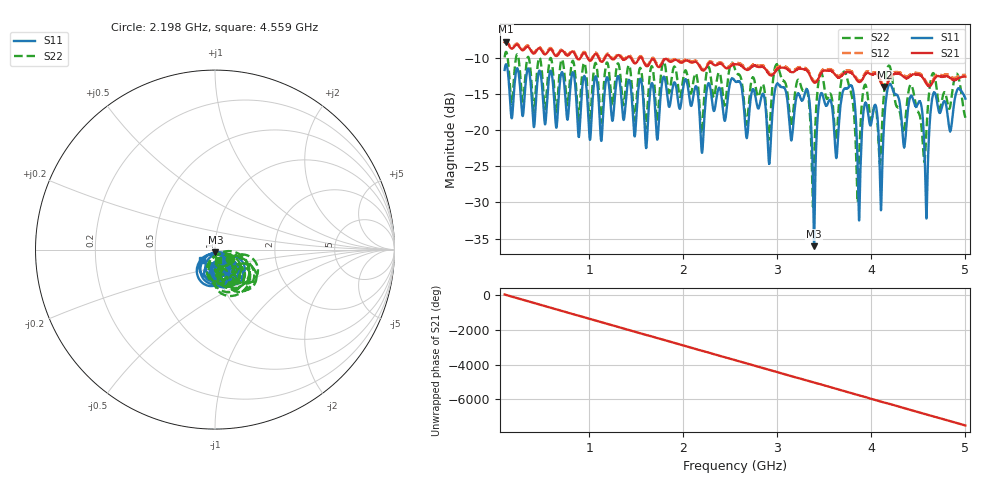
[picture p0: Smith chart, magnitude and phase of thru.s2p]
!Keysight Technologies N9917A: A.13.25
!Date: Thursday, 15 October 2026 16:21:47
!Timezone: (UTC-08:00) Pacific Time (US & Canada)
!Model: N9917A
!Serial: MY56072049
!GPS Latitude:
!GPS Longitude:
!GPS TimeStamp: 0001-01-01 00:00:00Z
!GPS Seconds Since Last Read: 0
!CHECKSUM:2118198808
!Correction: S11(Rdy)S21(Rdy)S12(Rdy)S22(Rdy)
!S2P File: Measurements:S11,S21,S12,S22:
# Hz S DB R 50
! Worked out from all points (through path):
!   10001 points, 100 MHz to 5 GHz, reference 50 ohm
!   highest |S21| = -7.71 dB at 112.7 MHz (marker M1); lowest = -14.0 dB at 4.14 GHz (marker M2)
!   lowest |S11| = -36.1 dB at 3.39 GHz (marker M3), VSWR 1.03, Z = 50.2 - j1.57 ohm
!   |S11| at or under -10 dB: start of sweep to end of sweep
!   |S22| runs from -30.6 to -9.1 dB; largest |S21 - S12| = 0.072
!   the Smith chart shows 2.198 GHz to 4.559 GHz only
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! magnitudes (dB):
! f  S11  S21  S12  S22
! 100 MHz  -11.7  -7.8  -7.6  -9.9
! 112.7 MHz  -10.9  -7.7  -7.6  -9.2
! 916.8 MHz  -15.5  -9.8  -9.6  -13.4
! 1.734 GHz  -20.2  -11.2  -11.1  -17.4
! 2.55 GHz  -13.2  -10.9  -10.7  -11.5
! 2.914 GHz  -24.6  -12.3  -12.1  -20.6
! 2.994 GHz  -13.6  -11.6  -11.4  -10.9
! 3.232 GHz  -15.1  -11.5  -11.3  -13.1
! 3.367 GHz  -21.4  -13.0  -12.8  -24.8
! 3.39 GHz  -36.1  -13.4  -13.2  -25.0
! 3.468 GHz  -14.8  -12.0  -11.8  -12.1
! 3.628 GHz  -23.8  -12.5  -12.3  -21.2
! 3.79 GHz  -13.8  -12.1  -11.9  -15.1
! 3.854 GHz  -24.4  -13.2  -13.0  -29.9
! 3.925 GHz  -16.6  -12.5  -12.3  -13.9
! 4.09 GHz  -25.4  -13.0  -12.8  -24.6
! 4.14 GHz  -18.2  -14.0  -13.8  -14.1
! 4.184 GHz  -13.8  -13.2  -12.9  -11.1
! 4.519 GHz  -16.1  -12.4  -12.2  -18.2
! 4.585 GHz  -32.2  -13.6  -13.3  -20.1
! 4.661 GHz  -14.9  -13.2  -12.9  -12.1
! 5 GHz  -15.6  -12.6  -12.3  -18.3
